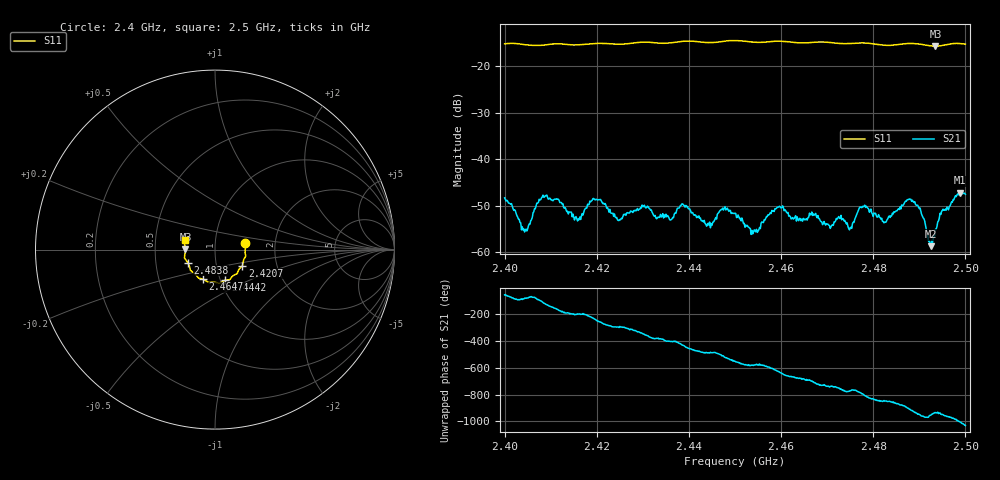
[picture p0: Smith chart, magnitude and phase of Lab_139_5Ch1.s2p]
# Hz S RI R 50
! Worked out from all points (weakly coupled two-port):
!   601 points, 2.4 GHz to 2.5 GHz, reference 50 ohm
!   highest |S21| = -47.22 dB at 2.4988 GHz (marker M1); lowest = -58.8 dB at 2.4925 GHz (marker M2)
!   lowest |S11| = -15.7 dB at 2.4935 GHz (marker M3), VSWR 1.39, Z = 35.9 + j0.145 ohm
!   |S11| at or under -10 dB: start of sweep to end of sweep
!   S12 and S22 are empty: the file has one direction only
!   S11 on the Smith chart (normalised r, x): 2.4 GHz: 1.40, +0.11; 2.4207 GHz: 1.33, -0.24; 2.4442 GHz: 1.06, -0.37; 2.4647 GHz: 0.83, -0.28; 2.4838 GHz: 0.73, -0.11; 2.5 GHz: 0.71, +0.08
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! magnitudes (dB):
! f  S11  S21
! 2.4 GHz  -15.2  -48.3
! 2.4045 GHz  -15.4  -55.2
! 2.4087 GHz  -15.4  -48.2
! 2.4167 GHz  -15.3  -52.3
! 2.4207 GHz  -15.1  -48.7
! 2.4247 GHz  -15.3  -53.2
! 2.43 GHz  -14.8  -50.2
! 2.4333 GHz  -15.0  -52.5
! 2.4388 GHz  -14.6  -49.9
! 2.4442 GHz  -14.9  -53.8
! 2.45 GHz  -14.4  -51.6
! 2.454 GHz  -14.8  -55.8
! 2.4593 GHz  -14.6  -50.4
! 2.4647 GHz  -15.0  -53.4
! 2.4667 GHz  -14.9  -51.4
! 2.4833 GHz  -15.5  -52.4
! 2.4838 GHz  -15.5  -52.2
! 2.4885 GHz  -15.1  -48.9
! 2.4925 GHz  -15.6  -58.8
! 2.4935 GHz  -15.7  -55.1
! 2.4988 GHz  -15.1  -47.2
! 2.5 GHz  -15.2  -47.6
